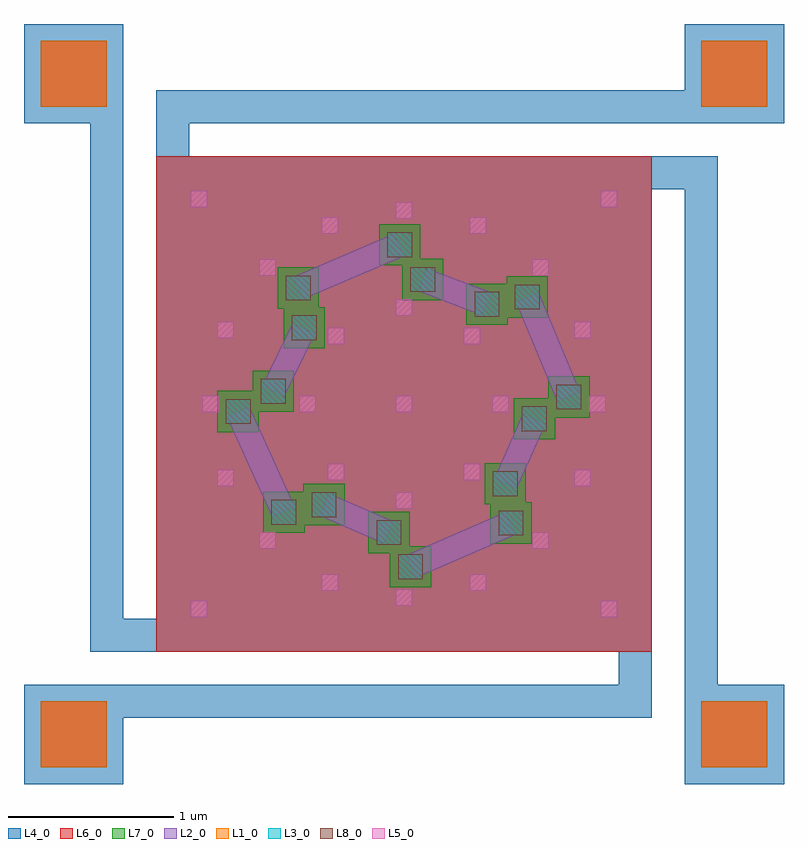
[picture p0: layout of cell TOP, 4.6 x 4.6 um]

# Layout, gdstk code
import gdstk
lib = gdstk.Library(unit=1e-6, precision=1e-09)
def R(c, l, rs):  # rectangles x0, y0, x1, y1
    for r in rs: c.add(gdstk.rectangle(r[:2], r[2:], *l))
def A(c, l, x, y, w, h, nx, ny, dx, dy):  # array of equal rectangles
    R(c, l, [(x+i*dx, y+j*dy, x+i*dx+w, y+j*dy+h) for i in range(nx) for j in range(ny)])
def P(c, l, *ps):  # polygons
    for p in ps: c.add(gdstk.Polygon(p, *l))
L1_0 = (1, 0)
L2_0 = (2, 0)
L3_0 = (3, 0)
L4_0 = (4, 0)
L5_0 = (5, 0)
L6_0 = (6, 0)
L7_0 = (7, 0)
L8_0 = (8, 0)

top = lib.new_cell('TOP')
R(top, L1_0, [(-2.2,-2.2,-1.8,-1.8), (1.8,-2.2,2.2,-1.8), (-2.2,1.8,-1.8,2.2), (1.8,1.8,2.2,2.2)])
P(top, L2_0, [(-0.796,-0.685),(-1.072,-0.077),(-0.936,-0.015),(-0.66,-0.623)],
  [(-0.122,-0.846),(-0.513,-0.677),(-0.454,-0.54),(-0.063,-0.709)],
  [(0.069,-1.054),(0.01,-0.916),(0.617,-0.652),(0.676,-0.79)],
  [(0.682,-0.513),(0.545,-0.452),(0.72,-0.059),(0.857,-0.12)],
  [(0.929,0.013),(0.677,0.619),(0.815,0.677),(1.067,0.071)],
  [(0.475,0.535),(0.086,0.683),(0.139,0.823),(0.528,0.675)],
  [(-0.61,0.633),(-0.669,0.771),(-0.056,1.033),(0.003,0.895)],
  [(-0.724,0.045),(-0.859,0.11),(-0.672,0.493),(-0.537,0.428)])
R(top, L3_0, [(-0.036,-1.06,0.114,-0.91), (-0.166,-0.853,-0.016,-0.703), (0.573,-0.795,0.723,-0.645), (-0.802,-0.73,-0.652,-0.58), (-0.559,-0.684,-0.409,-0.534), (0.538,-0.558,0.688,-0.408), (0.714,-0.164,0.864,-0.014), (-1.079,-0.12,-0.929,0.03), (0.923,-0.033,1.073,0.117), (-0.866,0.002,-0.716,0.152), (-0.679,0.386,-0.529,0.536), (0.427,0.529,0.577,0.679), (0.671,0.573,0.821,0.723), (-0.715,0.627,-0.565,0.777), (0.038,0.678,0.188,0.828), (-0.101,0.889,0.049,1.039)])
P(top, L4_0, [(-2.3,-2.3),(-2.3,-1.7),(1.3,-1.7),(1.3,-1.5),(-1.9,-1.5),(-1.9,1.7),(-2.3,1.7),(-2.3,2.3),(-1.7,2.3),(-1.7,-1.3),(-1.5,-1.3),(-1.5,1.9),(1.7,1.9),(1.7,2.3),(2.3,2.3),(2.3,1.7),(-1.3,1.7),(-1.3,1.5),(1.9,1.5),(1.9,-1.7),(2.3,-1.7),(2.3,-2.3),(1.7,-2.3),(1.7,1.3),(1.5,1.3),(1.5,-1.9),(-1.7,-1.9),(-1.7,-2.3)])
A(top, L5_0, -1.22, -0.05, 0.1, 0.1, 5, 1, 0.585, 0)
R(top, L5_0, [(-1.29,-1.29,-1.19,-1.19), (1.19,-1.29,1.29,-1.19), (-0.05,-1.22,0.05,-1.12), (-0.497,-1.13,-0.397,-1.03), (0.397,-1.13,0.497,-1.03), (-0.877,-0.877,-0.777,-0.777), (0.777,-0.877,0.877,-0.777), (-0.05,-0.635,0.05,-0.535), (-1.13,-0.497,-1.03,-0.397), (1.03,-0.497,1.13,-0.397), (-0.463,-0.463,-0.363,-0.363), (0.363,-0.463,0.463,-0.363), (-0.463,0.363,-0.363,0.463), (0.363,0.363,0.463,0.463), (-1.13,0.397,-1.03,0.497), (1.03,0.397,1.13,0.497), (-0.05,0.535,0.05,0.635), (-0.877,0.777,-0.777,0.877), (0.777,0.777,0.877,0.877), (-0.497,1.03,-0.397,1.13), (0.397,1.03,0.497,1.13), (-0.05,1.12,0.05,1.22), (-1.29,1.19,-1.19,1.29), (1.19,1.19,1.29,1.29)])
R(top, L6_0, [(-2.2,-2.2,-1.8,-1.8), (1.8,-2.2,2.2,-1.8), (-1.5,-1.5,1.5,1.5), (-2.2,1.8,-1.8,2.2), (1.8,1.8,2.2,2.2)])
R(top, L7_0, [(-0.086,-1.11,0.164,-0.86), (-0.216,-0.903,0.034,-0.653), (0.523,-0.845,0.773,-0.595), (-0.852,-0.78,-0.602,-0.53), (-0.609,-0.734,-0.359,-0.484), (0.488,-0.608,0.738,-0.358), (0.664,-0.214,0.914,0.036), (-1.129,-0.17,-0.879,0.08), (0.873,-0.083,1.123,0.167), (-0.916,-0.048,-0.666,0.202), (-0.729,0.336,-0.479,0.586), (0.377,0.479,0.627,0.729), (0.621,0.523,0.871,0.773), (-0.765,0.577,-0.515,0.827), (-0.012,0.628,0.238,0.878), (-0.151,0.839,0.099,1.089)])
R(top, L8_0, [(-0.036,-1.06,0.114,-0.91), (-0.166,-0.853,-0.016,-0.703), (0.573,-0.795,0.723,-0.645), (-0.802,-0.73,-0.652,-0.58), (-0.559,-0.684,-0.409,-0.534), (0.538,-0.558,0.688,-0.408), (0.714,-0.164,0.864,-0.014), (-1.079,-0.12,-0.929,0.03), (0.923,-0.033,1.073,0.117), (-0.866,0.002,-0.716,0.152), (-0.679,0.386,-0.529,0.536), (0.427,0.529,0.577,0.679), (0.671,0.573,0.821,0.723), (-0.715,0.627,-0.565,0.777), (0.038,0.678,0.188,0.828), (-0.101,0.889,0.049,1.039)])

lib.write_gds('TOP.gds')
